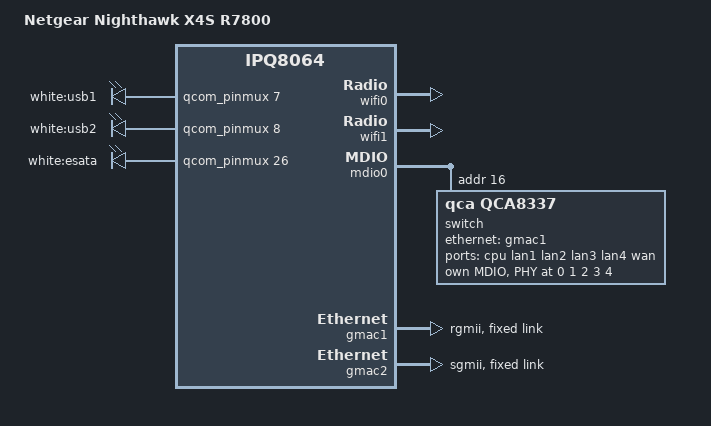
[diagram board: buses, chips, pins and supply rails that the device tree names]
#include "qcom-ipq8065-nighthawk.dtsi"
#include <dt-bindings/leds/common.h>

/ {
	model = "Netgear Nighthawk X4S R7800";
	compatible = "netgear,r7800", "qcom,ipq8065", "qcom,ipq8064";
};

&leds {
	usb1 {
		label = "white:usb1";
		gpios = <&qcom_pinmux 7 GPIO_ACTIVE_HIGH>;
	};

	usb2 {
		label = "white:usb2";
		gpios = <&qcom_pinmux 8 GPIO_ACTIVE_HIGH>;
	};

	esata {
		label = "white:esata";
		gpios = <&qcom_pinmux 26 GPIO_ACTIVE_HIGH>;
	};
};

&partitions {
	partition@1880000 {
		label = "ubi";
		reg = <0x1880000 0x6080000>;
	};

	partition@7900000 {
		label = "reserve";
		reg = <0x7900000 0x0700000>;
		read-only;
	};
};

&wifi0 {
	nvmem-cells = <&macaddr_art_6>, <&precal_art_1000>;
	nvmem-cell-names = "mac-address", "pre-calibration";
	mac-address-increment = <(1)>;
};

&wifi1 {
	nvmem-cells = <&macaddr_art_6>, <&precal_art_5000>;
	nvmem-cell-names = "mac-address", "pre-calibration";
	mac-address-increment = <(2)>;
};

&mdio0 {
	status = "okay";

	pinctrl-0 = <&mdio0_pins>;
	pinctrl-names = "default";

	switch@10 {
		compatible = "qca,qca8337";
		#address-cells = <1>;
		#size-cells = <0>;
		reg = <0x10>;

		ports {
			#address-cells = <1>;
			#size-cells = <0>;

			port@0 {
				reg = <0>;
				label = "cpu";
				ethernet = <&gmac1>;
				phy-mode = "rgmii-id";

				fixed-link {
					speed = <1000>;
					full-duplex;
				};
			};

			port@1 {
				reg = <1>;
				label = "lan1";
				phy-mode = "internal";
				phy-handle = <&phy_port1>;
			};

			port@2 {
				reg = <2>;
				label = "lan2";
				phy-mode = "internal";
				phy-handle = <&phy_port2>;
			};

			port@3 {
				reg = <3>;
				label = "lan3";
				phy-mode = "internal";
				phy-handle = <&phy_port3>;
			};

			port@4 {
				reg = <4>;
				label = "lan4";
				phy-mode = "internal";
				phy-handle = <&phy_port4>;
			};

			port@5 {
				reg = <5>;
				label = "wan";
				phy-mode = "internal";
				phy-handle = <&phy_port5>;
			};

			// port@6 {
			// 	reg = <6>;
			// 	label = "cpu";
			// 	ethernet = <&gmac2>;
			// 	phy-mode = "sgmii";

			// 	fixed-link {
			// 		speed = <1000>;
			// 		full-duplex;
			// 	};
			// };
		};

		mdio {
			#address-cells = <1>;
			#size-cells = <0>;

			phy_port1: phy@0 {
				reg = <0>;

				leds {

					lan1_led@0 {
						reg = <0>;
						color = <LED_COLOR_ID_WHITE>;
						function = LED_FUNCTION_LAN;
						function-enumerator = <1>;
						linux,default-trigger = "offload-phy-activity";
						linux,supported-offload-triggers = "rx-blink", "tx-blink", "ollision-blink",
										"link-10M", "link-100M", "link-1000M",
										"half-duplex", "full-duplex", "linkup-over",
										"power-on-reset", "blink-2hz", "blink-4hz",
										"blink-8hz", "blink-auto";
					};

					lan1_led@1 {
						reg = <1>;
						color = <LED_COLOR_ID_AMBER>;
						function = LED_FUNCTION_LAN;
						function-enumerator = <1>;
						linux,default-trigger = "offload-phy-activity";
						linux,supported-offload-triggers = "rx-blink", "tx-blink", "ollision-blink",
										"link-10M", "link-100M", "link-1000M",
										"half-duplex", "full-duplex", "linkup-over",
										"power-on-reset", "blink-2hz", "blink-4hz",
										"blink-8hz", "blink-auto";
					};
				};
			};

			phy_port2: phy@1 {
				reg = <1>;

				leds {

					lan1_led@0 {
						reg = <0>;
						color = <LED_COLOR_ID_WHITE>;
						function = LED_FUNCTION_LAN;
						function-enumerator = <2>;
						linux,default-trigger = "offload-phy-activity";
						linux,supported-offload-triggers = "rx-blink", "tx-blink", "ollision-blink",
										"link-10M", "link-100M", "link-1000M",
										"half-duplex", "full-duplex", "linkup-over",
										"power-on-reset", "blink-2hz", "blink-4hz",
										"blink-8hz", "blink-auto";
					};

					lan1_led@1 {
						reg = <1>;
						color = <LED_COLOR_ID_AMBER>;
						function = LED_FUNCTION_LAN;
						function-enumerator = <2>;
						linux,default-trigger = "offload-phy-activity";
						linux,supported-offload-triggers = "rx-blink", "tx-blink", "ollision-blink",
										"link-10M", "link-100M", "link-1000M",
										"half-duplex", "full-duplex", "linkup-over",
										"power-on-reset", "blink-2hz", "blink-4hz",
										"blink-8hz", "blink-auto";
					};
				};
			};

			phy_port3: phy@2 {
				reg = <2>;

				leds {
					lan1_led@0 {
						reg = <0>;
						color = <LED_COLOR_ID_WHITE>;
						function = LED_FUNCTION_LAN;
						function-enumerator = <3>;
						linux,default-trigger = "offload-phy-activity";
						linux,supported-offload-triggers = "rx-blink", "tx-blink", "ollision-blink",
										"link-10M", "link-100M", "link-1000M",
										"half-duplex", "full-duplex", "linkup-over",
										"power-on-reset", "blink-2hz", "blink-4hz",
										"blink-8hz", "blink-auto";
					};

					lan1_led@1 {
						reg = <1>;
						color = <LED_COLOR_ID_AMBER>;
						function = LED_FUNCTION_LAN;
						function-enumerator = <3>;
						linux,default-trigger = "offload-phy-activity";
						linux,supported-offload-triggers = "rx-blink", "tx-blink", "ollision-blink",
										"link-10M", "link-100M", "link-1000M",
										"half-duplex", "full-duplex", "linkup-over",
										"power-on-reset", "blink-2hz", "blink-4hz",
										"blink-8hz", "blink-auto";
					};
				};
			};

			phy_port4: phy@3 {
				reg = <3>;

				leds {
					lan1_led@0 {
						reg = <0>;
						color = <LED_COLOR_ID_WHITE>;
						function = LED_FUNCTION_LAN;
						function-enumerator = <4>;
						linux,default-trigger = "offload-phy-activity";
						linux,supported-offload-triggers = "rx-blink", "tx-blink", "ollision-blink",
										"link-10M", "link-100M", "link-1000M",
										"half-duplex", "full-duplex", "linkup-over",
										"power-on-reset", "blink-2hz", "blink-4hz",
										"blink-8hz", "blink-auto";
					};

					lan1_led@1 {
						reg = <1>;
						color = <LED_COLOR_ID_AMBER>;
						function = LED_FUNCTION_LAN;
						function-enumerator = <4>;
						linux,default-trigger = "offload-phy-activity";
						linux,supported-offload-triggers = "rx-blink", "tx-blink", "ollision-blink",
										"link-10M", "link-100M", "link-1000M",
										"half-duplex", "full-duplex", "linkup-over",
										"power-on-reset", "blink-2hz", "blink-4hz",
										"blink-8hz", "blink-auto";
					};
				};
			};

			phy_port5: phy@4 {
				reg = <4>;
			};
		};
	};

	// phy0: ethernet-phy@0 {
	// 	reg = <0>;
	// 	qca,ar8327-initvals = <
	// 		0x00004 0x7600000   /* PAD0_MODE */
	// 		0x00008 0x1000000   /* PAD5_MODE */
	// 		0x0000c 0x80        /* PAD6_MODE */
	// 		0x000e4 0xaa545     /* MAC_POWER_SEL */
	// 		0x000e0 0xc74164de  /* SGMII_CTRL */
	// 		0x0007c 0x4e        /* PORT0_STATUS */
	// 		0x00094 0x4e        /* PORT6_STATUS */
	// 		0x00970 0x1e864443  /* QM_PORT0_CTRL0 */
	// 		0x00974 0x000001c6  /* QM_PORT0_CTRL1 */
	// 		0x00978 0x19008643  /* QM_PORT1_CTRL0 */
	// 		0x0097c 0x000001c6  /* QM_PORT1_CTRL1 */
	// 		0x00980 0x19008643  /* QM_PORT2_CTRL0 */
	// 		0x00984 0x000001c6  /* QM_PORT2_CTRL1 */
	// 		0x00988 0x19008643  /* QM_PORT3_CTRL0 */
	// 		0x0098c 0x000001c6  /* QM_PORT3_CTRL1 */
	// 		0x00990 0x19008643  /* QM_PORT4_CTRL0 */
	// 		0x00994 0x000001c6  /* QM_PORT4_CTRL1 */
	// 		0x00998 0x1e864443  /* QM_PORT5_CTRL0 */
	// 		0x0099c 0x000001c6  /* QM_PORT5_CTRL1 */
	// 		0x009a0 0x1e864443  /* QM_PORT6_CTRL0 */
	// 		0x009a4 0x000001c6  /* QM_PORT6_CTRL1 */
	// 		>;
	// 	qca,ar8327-vlans = <
	// 		0x1	0x5e	    /* VLAN1 Ports 1/2/3/4/6 */
	// 		0x2	0x21	    /* VLAN2 Ports 0/5 */
	// 	>;
	// };

	// phy4: ethernet-phy@4 {
	// 	reg = <4>;
	// 	qca,ar8327-initvals = <
	// 		0x000e4 0x6a545     /* MAC_POWER_SEL */
	// 		0x0000c 0x80        /* PAD6_MODE */
	// 		>;
	// };
};

// &gmac1 {
// 	status = "okay";
// 	compatible = "qcom,nss-gmac";
// 	reg = <0x37200000 0x200000>;
// 	interrupts = <GIC_SPI 223 IRQ_TYPE_LEVEL_HIGH>;
// 	phy-mode = "rgmii";
// 	qcom,id = <1>;
// 	qcom,pcs-chanid = <0>;
// 	qcom,phy-mdio-addr = <4>;
// 	qcom,poll-required = <0>;
// 	qcom,rgmii-delay = <1>;
// 	qcom,phy_mii_type = <0>;
// 	qcom,emulation = <0>;
// 	qcom,forced-speed = <1000>;
// 	qcom,forced-duplex = <1>;
// 	qcom,socver = <0>;
// 	qcom,irq = <255>;
// 	mdiobus = <&mdio0>;

// 	pinctrl-0 = <&rgmii2_pins>;
// 	pinctrl-names = "default";

// 	nvmem-cells = <&macaddr_art_6>;
// 	nvmem-cell-names = "mac-address";

// 	fixed-link {
// 		speed = <1000>;
// 		full-duplex;
// 	};
// };

// &gmac2 {
// 	status = "okay";
// 	compatible = "qcom,nss-gmac";
// 	reg = <0x37400000 0x200000>;
// 	interrupts = <GIC_SPI 226 IRQ_TYPE_LEVEL_HIGH>;
// 	phy-mode = "sgmii";
// 	qcom,id = <2>;
// 	qcom,pcs-chanid = <1>;
// 	qcom,phy-mdio-addr = <0>;	/* none */
// 	qcom,poll-required = <0>;	/* no polling */
// 	qcom,rgmii-delay = <0>;
// 	qcom,phy_mii_type = <1>;
// 	qcom,emulation = <0>;
// 	qcom,forced-speed = <1000>;
// 	qcom,forced-duplex = <1>;
// 	qcom,socver = <0>;
// 	qcom,irq = <258>;
// 	mdiobus = <&mdio0>;

// 	nvmem-cells = <&macaddr_art_0>;
// 	nvmem-cell-names = "mac-address";

// 	fixed-link {
// 		speed = <1000>;
// 		full-duplex;
// 	};
// };

&gmac1 {
	status = "okay";
	phy-mode = "rgmii";
	qcom,id = <1>;
	qcom,phy_mdio_addr = <4>;
	qcom,poll_required = <0>;
	qcom,rgmii_delay = <1>;
	qcom,phy_mii_type = <0>;
	qcom,emulation = <0>;
	qcom,irq = <255>;
	mdiobus = <&mdio0>;

	pinctrl-0 = <&rgmii2_pins>;
	pinctrl-names = "default";

	nvmem-cells = <&macaddr_art_6>;
	nvmem-cell-names = "mac-address";

	fixed-link {
		speed = <1000>;
		full-duplex;
	};
};

&gmac2 {
	status = "okay";
	phy-mode = "sgmii";
	qcom,id = <2>;
	qcom,phy_mdio_addr = <0>;	/* none */
	qcom,poll_required = <0>;	/* no polling */
	qcom,rgmii_delay = <0>;
	qcom,phy_mii_type = <1>;
	qcom,emulation = <0>;
	qcom,irq = <258>;
	mdiobus = <&mdio0>;

	nvmem-cells = <&macaddr_art_0>;
	nvmem-cell-names = "mac-address";

	fixed-link {
		speed = <1000>;
		full-duplex;
	};
};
